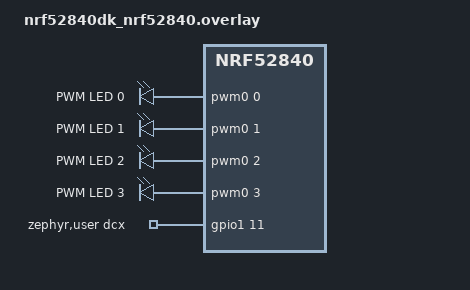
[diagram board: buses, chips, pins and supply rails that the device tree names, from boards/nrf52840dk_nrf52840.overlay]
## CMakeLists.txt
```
#-------------------------------------------------------------------------------
# Zephyr Example Application
#
# Copyright (c) 2021 Nordic Semiconductor ASA
# SPDX-License-Identifier: Apache-2.0

cmake_minimum_required(VERSION 3.13.1)
find_package(Zephyr REQUIRED HINTS $ENV{ZEPHYR_BASE})

project(app LANGUAGES C)

zephyr_include_directories(src)

target_sources(app PRIVATE src/main.c)
include_directories(${ZEPHYR_BASE}/modules/lib/gui/lvgl)
```

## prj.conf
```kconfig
# Copyright (c) 2021 Nordic Semiconductor ASA
# SPDX-License-Identifier: Apache-2.0
#
# This file contains selected Kconfig options for the application.

CONFIG_GPIO=y
CONFIG_PWM=y
CONFIG_DISPLAY=y
CONFIG_LVGL=y
#CONFIG_LV_USE_CANVAS=y

CONFIG_MAIN_STACK_SIZE=4096
CONFIG_HEAP_MEM_POOL_SIZE=4096
CONFIG_LV_Z_MEM_POOL_SIZE=32768
```

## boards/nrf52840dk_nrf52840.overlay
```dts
/ {
    pwmleds {
        compatible = "pwm-leds";
        pwm_led0: pwm_led_0 {
            pwms = <&pwm0 0 PWM_MSEC(20) PWM_POLARITY_NORMAL>;
            label = "PWM LED 0";
        };
        pwm_led1: pwm_led_1 {
            pwms = <&pwm0 1 PWM_MSEC(20) PWM_POLARITY_NORMAL>;
            label = "PWM LED 1";
        };
        pwm_led2: pwm_led_2 {
            pwms = <&pwm0 2 PWM_MSEC(20) PWM_POLARITY_NORMAL>;
            label = "PWM LED 2";
        };
        pwm_led3: pwm_led_3 {
            pwms = <&pwm0 3 PWM_MSEC(20) PWM_POLARITY_NORMAL>;
            label = "PWM LED 3";
        };
    };

    aliases {
        pwm-led0 = &pwm_led0;
        pwm-led1 = &pwm_led1;
        pwm-led2 = &pwm_led2;
        pwm-led3 = &pwm_led3;
    };

    zephyr,user {
        dcx_gpios = <&gpio1 11 GPIO_ACTIVE_HIGH>;
    };

    arduino_spi {
        cs-gpios = <&gpio1 12 GPIO_ACTIVE_LOW>;
    };
};

&pinctrl {
    pwm0_default: pwm0_default {
        group1 {
            psels =
                <NRF_PSEL(PWM_OUT0, 0, 15)>,
                <NRF_PSEL(PWM_OUT1, 0, 16)>,
                <NRF_PSEL(PWM_OUT2, 0, 18)>,
                <NRF_PSEL(PWM_OUT3, 0, 20)>;
            nordic,invert;
        };
    };

    pwm0_sleep: pwm0_sleep {
        group1 {
            psels =
                <NRF_PSEL(PWM_OUT0, 0, 15)>,
                <NRF_PSEL(PWM_OUT1, 0, 16)>,
                <NRF_PSEL(PWM_OUT2, 0, 18)>,
                <NRF_PSEL(PWM_OUT3, 0, 20)>;
            low-power-enable;
        };
    };
};
```

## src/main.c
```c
#include <stdio.h>
#include <stdint.h>
#include <stdbool.h>

#include <zephyr/kernel.h>
#include <zephyr/device.h>
#include <zephyr/drivers/display.h>
#include <zephyr/drivers/gpio.h>
#include <zephyr/sys_clock.h>

#include "lvgl.h"

#define SLEEP_MS              1

#define X_A_PIN               7
#define X_B_PIN               8
#define Y_A_PIN               13
#define Y_B_PIN               14

#define X_SIGN                1
#define Y_SIGN                1

#define X_DEBOUNCE_US         3000
#define Y_DEBOUNCE_US         3000
#define CLEAR_HOLD_MS         3000

#define SCREEN_W              320
#define SCREEN_H              240

#define DRAW_X                10
#define DRAW_Y                40
#define DRAW_W                200
#define DRAW_H                180

#define CURSOR_W              8
#define CURSOR_H              8
#define LINE_WIDTH            3

/*
 * Stroke-based storage:
 * One LVGL line object per stroke, many points per stroke.
 * Much more memory-efficient than one object per segment.
 */
#define MAX_STROKES           20
#define MAX_POINTS_PER_STROKE 160

static const struct device *display_dev = DEVICE_DT_GET(DT_CHOSEN(zephyr_display));
static const struct device *gpio0_dev   = DEVICE_DT_GET(DT_NODELABEL(gpio0));

static const struct gpio_dt_spec button0 = GPIO_DT_SPEC_GET(DT_ALIAS(sw0), gpios);
static const struct gpio_dt_spec button1 = GPIO_DT_SPEC_GET(DT_ALIAS(sw1), gpios);
static const struct gpio_dt_spec button2 = GPIO_DT_SPEC_GET(DT_ALIAS(sw2), gpios);
static const struct gpio_dt_spec button3 = GPIO_DT_SPEC_GET(DT_ALIAS(sw3), gpios);

static lv_obj_t *label;
static lv_obj_t *draw_box;
static lv_obj_t *cursor;
static lv_obj_t *help_label;

typedef struct {
    lv_obj_t *line_obj;
    lv_point_precise_t points[MAX_POINTS_PER_STROKE];
    uint16_t point_count;
    uint32_t color_hex;
    bool in_use;
} stroke_t;

static stroke_t strokes[MAX_STROKES];
static int current_stroke = -1;
static uint16_t stroke_count = 0;

static volatile int x_pos = DRAW_W / 2;
static volatile int y_pos = DRAW_H / 2;

static volatile int x_dir = 0;
static volatile int y_dir = 0;

static volatile uint32_t x_irq_last_us = 0;
static volatile uint32_t y_irq_last_us = 0;

static volatile bool ui_dirty = true;
static volatile bool pos_changed = false;

static struct gpio_callback x_a_cb_data;
static struct gpio_callback y_a_cb_data;

struct button_state {
    bool pressed_now;
    bool pressed_prev;
    bool hold_fired;
    int64_t press_time_ms;
};

static struct button_state b0 = {0};
static struct button_state b1 = {0};
static struct button_state b2 = {0};
static struct button_state b3 = {0};

static int last_draw_x = DRAW_W / 2;
static int last_draw_y = DRAW_H / 2;

static bool pen_down = true;
static bool erase_mode = false;
static uint8_t color_index = 0;

static const uint32_t palette_hex[] = {
    0x000000, /* Black  */
    0xFF0000, /* Red    */
    0x00AA00, /* Green  */
    0x0000FF, /* Blue   */
    0xFFAA00, /* Orange */
    0x8000FF, /* Purple */
    0x00AAAA  /* Teal   */
};

static const char *palette_names[] = {
    "Black",
    "Red",
    "Green",
    "Blue",
    "Orange",
    "Purple",
    "Teal"
};

#define PALETTE_SIZE (sizeof(palette_hex) / sizeof(palette_hex[0]))

static int clamp_int(int value, int low, int high)
{
    if (value < low) {
        return low;
    }

    if (value > high) {
        return high;
    }

    return value;
}

static uint32_t now_us(void)
{
    return k_cyc_to_us_floor32(k_cycle_get_32());
}

static bool button_is_pressed(const struct gpio_dt_spec *button)
{
    int value = gpio_pin_get_dt(button);

    if (value < 0) {
        return false;
    }

    if ((button->dt_flags & GPIO_ACTIVE_LOW) != 0U) {
        return (value == 0);
    }

    return (value != 0);
}

static uint32_t current_draw_color_hex(void)
{
    if (erase_mode) {
        return 0xFFFFFF;
    }

    return palette_hex[color_index];
}

static lv_color_t current_draw_color(void)
{
    return lv_color_hex(current_draw_color_hex());
}

static void update_label(void)
{
    char text[180];

    snprintf(text, sizeof(text),
             "X: %d dir:%d\n"
             "Y: %d dir:%d\n"
             "Pen: %s\n"
             "Erase: %s\n"
             "Color: %s\n"
             "Strokes: %u",
             x_pos, x_dir,
             y_pos, y_dir,
             pen_down ? "DOWN" : "UP",
             erase_mode ? "ON" : "OFF",
             erase_mode ? "White" : palette_names[color_index],
             stroke_count);

    lv_label_set_text(label, text);
}

static void update_cursor(void)
{
    lv_obj_set_pos(cursor,
                   x_pos - (CURSOR_W / 2),
                   y_pos - (CURSOR_H / 2));

    lv_obj_set_style_bg_color(cursor, current_draw_color(), 0);
}

static void clear_strokes(void)
{
    for (int i = 0; i < MAX_STROKES; i++) {
        if (strokes[i].line_obj != NULL) {
            lv_obj_delete(strokes[i].line_obj);
            strokes[i].line_obj = NULL;
        }

        strokes[i].point_count = 0;
        strokes[i].color_hex = 0;
        strokes[i].in_use = false;
    }

    current_stroke = -1;
    stroke_count = 0;
    last_draw_x = x_pos;
    last_draw_y = y_pos;
}

static bool start_new_stroke(int start_x, int start_y)
{
    if (stroke_count >= MAX_STROKES) {
        return false;
    }

    int idx = -1;

    for (int i = 0; i < MAX_STROKES; i++) {
        if (!strokes[i].in_use) {
            idx = i;
            break;
        }
    }

    if (idx < 0) {
        return false;
    }

    strokes[idx].line_obj = lv_line_create(draw_box);
    strokes[idx].point_count = 1;
    strokes[idx].color_hex = current_draw_color_hex();
    strokes[idx].in_use = true;

    strokes[idx].points[0].x = start_x;
    strokes[idx].points[0].y = start_y;

    lv_line_set_points(strokes[idx].line_obj, strokes[idx].points, strokes[idx].point_count);
    lv_obj_set_style_line_width(strokes[idx].line_obj, LINE_WIDTH, 0);
    lv_obj_set_style_line_color(strokes[idx].line_obj, lv_color_hex(strokes[idx].color_hex), 0);
    lv_obj_set_style_line_opa(strokes[idx].line_obj, LV_OPA_COVER, 0);

    current_stroke = idx;
    stroke_count++;

    lv_obj_move_foreground(cursor);
    return true;
}

static bool append_point_to_current_stroke(int x, int y)
{
    if (current_stroke < 0) {
        return false;
    }

    stroke_t *s = &strokes[current_stroke];

    if (!s->in_use || s->line_obj == NULL) {
        return false;
    }

    if (s->point_count >= MAX_POINTS_PER_STROKE) {
        return false;
    }

    if (s->point_count > 0) {
        uint16_t last = s->point_count - 1U;

        if (s->points[last].x == x && s->points[last].y == y) {
            return true;
        }
    }

    s->points[s->point_count].x = x;
    s->points[s->point_count].y = y;
    s->point_count++;

    lv_line_set_points(s->line_obj, s->points, s->point_count);
    lv_obj_move_foreground(cursor);

    return true;
}

static void ensure_stroke_active(int start_x, int start_y)
{
    bool need_new = false;

    if (current_stroke < 0) {
        need_new = true;
    } else {
        stroke_t *s = &strokes[current_stroke];

        if (!s->in_use || s->line_obj == NULL) {
            need_new = true;
        } else if (s->color_hex != current_draw_color_hex()) {
            need_new = true;
        } else if (s->point_count >= MAX_POINTS_PER_STROKE) {
            need_new = true;
        }
    }

    if (need_new) {
        start_new_stroke(start_x, start_y);
    }
}

/* ---- EXACT known-good encoder logic kept ---- */

static void x_a_falling_isr(const struct device *port,
                            struct gpio_callback *cb,
                            gpio_port_pins_t pins)
{
    ARG_UNUSED(port);
    ARG_UNUSED(cb);
    ARG_UNUSED(pins);

    uint32_t t = now_us();

    if ((t - x_irq_last_us) < X_DEBOUNCE_US) {
        return;
    }
    x_irq_last_us = t;

    int b = gpio_pin_get(gpio0_dev, X_B_PIN);

    if (b < 0) {
        return;
    }

    if (b) {
        x_dir = 1 * X_SIGN;
    } else {
        x_dir = -1 * X_SIGN;
    }

    x_pos = clamp_int(x_pos + x_dir, 0, DRAW_W - 1);
    ui_dirty = true;
    pos_changed = true;
}

static void y_a_falling_isr(const struct device *port,
                            struct gpio_callback *cb,
                            gpio_port_pins_t pins)
{
    ARG_UNUSED(port);
    ARG_UNUSED(cb);
    ARG_UNUSED(pins);

    uint32_t t = now_us();

    if ((t - y_irq_last_us) < Y_DEBOUNCE_US) {
        return;
    }
    y_irq_last_us = t;

    int b = gpio_pin_get(gpio0_dev, Y_B_PIN);

    if (b < 0) {
        return;
    }

    if (b) {
        y_dir = 1 * Y_SIGN;
    } else {
        y_dir = -1 * Y_SIGN;
    }

    y_pos = clamp_int(y_pos + y_dir, 0, DRAW_H - 1);
    ui_dirty = true;
    pos_changed = true;
}

static int setup_buttons(void)
{
    if (!gpio_is_ready_dt(&button0) ||
        !gpio_is_ready_dt(&button1) ||
        !gpio_is_ready_dt(&button2) ||
        !gpio_is_ready_dt(&button3)) {
        return -1;
    }

    if (gpio_pin_configure_dt(&button0, GPIO_INPUT) < 0) {
        return -1;
    }

    if (gpio_pin_configure_dt(&button1, GPIO_INPUT) < 0) {
        return -1;
    }

    if (gpio_pin_configure_dt(&button2, GPIO_INPUT) < 0) {
        return -1;
    }

    if (gpio_pin_configure_dt(&button3, GPIO_INPUT) < 0) {
        return -1;
    }

    return 0;
}

static int setup_encoders(void)
{
    if (!device_is_ready(gpio0_dev)) {
        return -1;
    }

    if (gpio_pin_configure(gpio0_dev, X_A_PIN, GPIO_INPUT | GPIO_PULL_UP) < 0) {
        return -1;
    }

    if (gpio_pin_configure(gpio0_dev, X_B_PIN, GPIO_INPUT | GPIO_PULL_UP) < 0) {
        return -1;
    }

    if (gpio_pin_configure(gpio0_dev, Y_A_PIN, GPIO_INPUT | GPIO_PULL_UP) < 0) {
        return -1;
    }

    if (gpio_pin_configure(gpio0_dev, Y_B_PIN, GPIO_INPUT | GPIO_PULL_UP) < 0) {
        return -1;
    }

    if (gpio_pin_interrupt_configure(gpio0_dev, X_A_PIN, GPIO_INT_EDGE_FALLING) < 0) {
        return -1;
    }

    if (gpio_pin_interrupt_configure(gpio0_dev, Y_A_PIN, GPIO_INT_EDGE_FALLING) < 0) {
        return -1;
    }

    gpio_init_callback(&x_a_cb_data, x_a_falling_isr, BIT(X_A_PIN));
    gpio_add_callback(gpio0_dev, &x_a_cb_data);

    gpio_init_callback(&y_a_cb_data, y_a_falling_isr, BIT(Y_A_PIN));
    gpio_add_callback(gpio0_dev, &y_a_cb_data);

    return 0;
}

static void handle_button_press(uint8_t index)
{
    switch (index) {
    case 0:
        pen_down = !pen_down;
        if (!pen_down) {
            current_stroke = -1;
        } else {
            last_draw_x = x_pos;
            last_draw_y = y_pos;
        }
        ui_dirty = true;
        break;

    case 1:
        erase_mode = !erase_mode;
        current_stroke = -1;
        ui_dirty = true;
        break;

    case 2:
        color_index++;
        if (color_index >= PALETTE_SIZE) {
            color_index = 0;
        }
        current_stroke = -1;
        ui_dirty = true;
        break;

    case 3:
        if (color_index == 0U) {
            color_index = PALETTE_SIZE - 1U;
        } else {
            color_index--;
        }
        current_stroke = -1;
        ui_dirty = true;
        break;

    default:
        break;
    }
}

static void handle_button_hold(struct button_state *btn, uint8_t index)
{
    if (index == 1U) {
        clear_strokes();
        btn->hold_fired = true;
        ui_dirty = true;
    }
}

static void update_one_button(struct button_state *btn,
                              const struct gpio_dt_spec *spec,
                              uint8_t index)
{
    int64_t now = k_uptime_get();

    btn->pressed_now = button_is_pressed(spec);

    if (btn->pressed_now && !btn->pressed_prev) {
        btn->press_time_ms = now;
        btn->hold_fired = false;
        handle_button_press(index);
    }

    if (btn->pressed_now && !btn->hold_fired) {
        if ((now - btn->press_time_ms) >= CLEAR_HOLD_MS) {
            handle_button_hold(btn, index);
        }
    }

    if (!btn->pressed_now && btn->pressed_prev) {
        btn->hold_fired = false;
    }

    btn->pressed_prev = btn->pressed_now;
}

int main(void)
{
    if (!device_is_ready(display_dev)) {
        return 0;
    }

    if (setup_buttons() < 0) {
        return 0;
    }

    if (setup_encoders() < 0) {
        return 0;
    }

    lv_obj_t *screen = lv_screen_active();
    if (screen == NULL) {
        return 0;
    }

    lv_obj_set_style_bg_color(screen, lv_color_hex(0xFFFFFF), 0);
    lv_obj_set_style_bg_opa(screen, LV_OPA_COVER, 0);

    label = lv_label_create(screen);
    lv_obj_set_pos(label, 220, 20);

    draw_box = lv_obj_create(screen);
    lv_obj_set_pos(draw_box, DRAW_X, DRAW_Y);
    lv_obj_set_size(draw_box, DRAW_W, DRAW_H);
    lv_obj_set_style_bg_color(draw_box, lv_color_hex(0xFFFFFF), 0);
    lv_obj_set_style_bg_opa(draw_box, LV_OPA_COVER, 0);
    lv_obj_set_style_border_width(draw_box, 4, 0);
    lv_obj_set_style_border_color(draw_box, lv_color_hex(0x000000), 0);
    lv_obj_set_style_radius(draw_box, 0, 0);
    lv_obj_set_style_pad_all(draw_box, 0, 0);
    lv_obj_clear_flag(draw_box, LV_OBJ_FLAG_SCROLLABLE);

    cursor = lv_obj_create(draw_box);
    lv_obj_set_size(cursor, CURSOR_W, CURSOR_H);
    lv_obj_set_style_bg_opa(cursor, LV_OPA_COVER, 0);
    lv_obj_set_style_border_width(cursor, 2, 0);
    lv_obj_set_style_border_color(cursor, lv_color_hex(0xFF0000), 0);
    lv_obj_set_style_radius(cursor, 0, 0);

    help_label = lv_label_create(screen);
    lv_label_set_text(help_label,
                      "SW0 Pen\n"
                      "SW1 Erase\n"
                      "Hold SW1 Clear\n"
                      "SW2 Next\n"
                      "SW3 Prev");
    lv_obj_set_pos(help_label, 220, 140);

    update_cursor();
    update_label();

    display_blanking_off(display_dev);

    while (1) {
        if (pos_changed) {
            if (pen_down) {
                ensure_stroke_active(last_draw_x, last_draw_y);
                append_point_to_current_stroke(x_pos, y_pos);
            }

            last_draw_x = x_pos;
            last_draw_y = y_pos;
            pos_changed = false;
        }

        update_one_button(&b0, &button0, 0);
        update_one_button(&b1, &button1, 1);
        update_one_button(&b2, &button2, 2);
        update_one_button(&b3, &button3, 3);

        if (ui_dirty) {
            update_cursor();
            update_label();
            ui_dirty = false;
        }

        lv_timer_handler();
        k_msleep(SLEEP_MS);
    }

    return 0;
}
```
